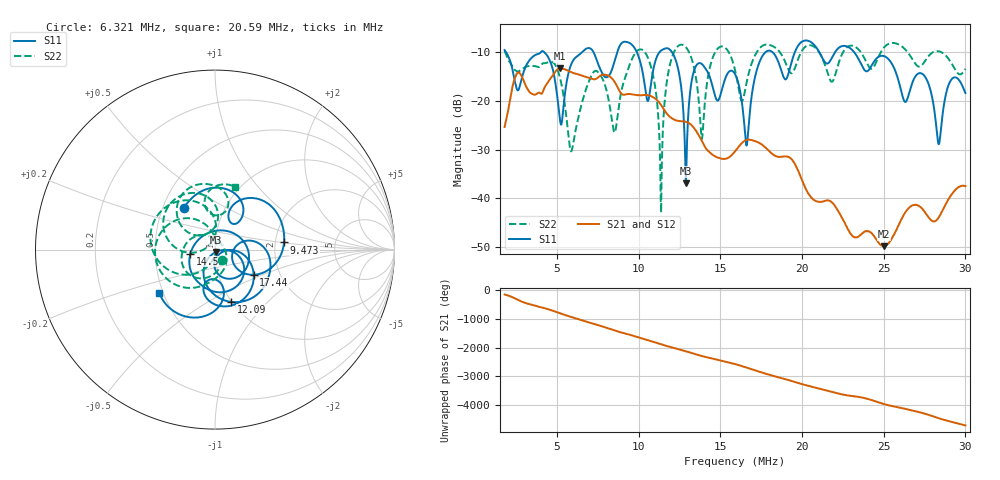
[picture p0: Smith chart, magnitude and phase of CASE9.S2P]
!Agilent Technologies,E5061B,MY49101568,A.02.00
!Date: Wed Mar 01 16:29:36 2023
!Data & Calibration Information:
!Freq	S11:SOLT2(OFF)	S21:SOLT2(OFF)	S12:SOLT2(OFF)	S22:SOLT2(OFF)
# Hz S dB R 50
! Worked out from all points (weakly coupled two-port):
!   1155 points, 1.8 MHz to 30 MHz, reference 50 ohm
!   highest |S21| = -13.40 dB at 5.197 MHz (marker M1); lowest = -49.8 dB at 25.01 MHz (marker M2)
!   lowest |S11| = -36.9 dB at 12.89 MHz (marker M3), VSWR 1.03, Z = 50.6 - j1.31 ohm
!   |S11| at or under -10 dB: 4.202 MHz to 6.56 MHz (2.358 MHz wide, 43.8 % of centre); 12.03 MHz to 17.79 MHz (5.763 MHz wide, 38.7 % of centre); 23.17 MHz to end of sweep (the widest 3 of 8)
!   |S22| runs from -42.9 to -8.2 dB; largest |S21 - S12| = 0.003
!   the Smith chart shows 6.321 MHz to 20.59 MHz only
!   S11 on the Smith chart (normalised r, x): 6.321 MHz: 0.64, +0.32; 9.473 MHz: 2.24, +0.21; 12.09 MHz: 1.00, -0.64; 14.53 MHz: 0.76, -0.03; 17.44 MHz: 1.47, -0.44; 20.59 MHz: 0.48, -0.27
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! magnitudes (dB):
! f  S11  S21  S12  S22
! 1.8 MHz  -9.6  -25.4  -25.4  -9.9
! 5.197 MHz  -24.1  -13.4  -13.4  -15.4
! 6.321 MHz  -10.7  -14.6  -14.6  -23.4
! 6.516 MHz  -10.1  -14.9  -14.8  -20.6
! 8.545 MHz  -11.7  -16.2  -16.2  -26.5
! 9.473 MHz  -8.3  -18.6  -18.6  -12.5
! 10.55 MHz  -20.0  -18.9  -18.9  -11.0
! 11.21 MHz  -10.4  -20.2  -20.2  -23.5
! 11.4 MHz  -9.7  -21.0  -21.1  -36.4
! 12.09 MHz  -10.3  -23.7  -23.8  -10.7
! 12.89 MHz  -36.9  -24.3  -24.4  -9.1
! 13.87 MHz  -12.5  -28.2  -28.3  -27.8
! 14.53 MHz  -17.2  -31.1  -31.1  -11.2
! 15.9 MHz  -14.5  -30.4  -30.4  -13.7
! 16.61 MHz  -29.2  -28.0  -28.1  -16.3
! 17.44 MHz  -11.8  -28.7  -28.9  -9.2
! 20.59 MHz  -8.1  -39.9  -39.9  -8.7
! 20.62 MHz  -8.2  -40.0  -40.0  -8.7
! 25.01 MHz  -10.9  -49.8  -49.7  -9.1
! 25.31 MHz  -11.6  -49.1  -49.0  -8.4
! 28.36 MHz  -28.9  -43.9  -43.9  -9.9
! 30 MHz  -18.4  -37.5  -37.4  -13.5
